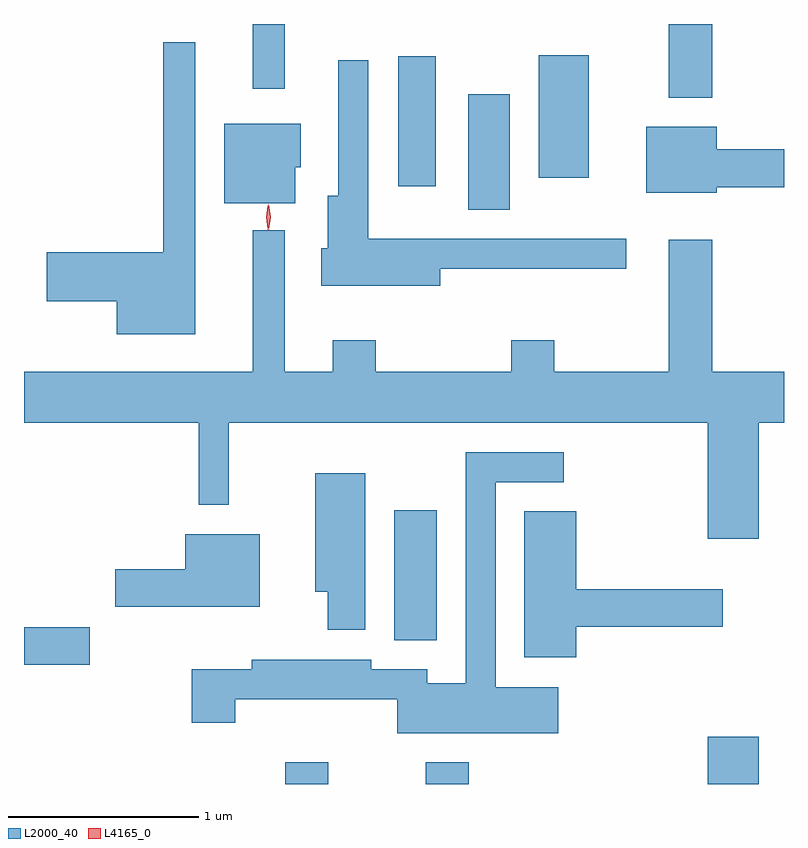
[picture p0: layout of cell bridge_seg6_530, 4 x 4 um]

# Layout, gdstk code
import gdstk
lib = gdstk.Library(unit=1e-6, precision=1e-09)
def R(c, l, rs):  # rectangles x0, y0, x1, y1
    for r in rs: c.add(gdstk.rectangle(r[:2], r[2:], *l))
def P(c, l, *ps):  # polygons
    for p in ps: c.add(gdstk.Polygon(p, *l))
L2000_40 = (2000, 40)
L4165_0 = (4165, 0)

bridge_seg6_530 = lib.new_cell('bridge_seg6_530')
R(bridge_seg6_530, L2000_40, [(492.571,1650.254,492.799,1650.369), (493.311,1650.254,493.539,1650.369), (494.796,1650.254,495.064,1650.504), (491.197,1650.881,491.544,1651.079), (493.146,1651.011,493.369,1651.694), (493.536,1653.276,493.754,1653.884), (493.166,1653.401,493.364,1654.084), (493.906,1653.446,494.169,1654.089), (494.591,1653.866,494.819,1654.254), (492.401,1653.913,492.569,1654.254)])
P(bridge_seg6_530, L2000_40, [(492.099,1654.158),(491.931,1654.158),(491.931,1653.054),(491.316,1653.054),(491.316,1652.796),(491.686,1652.796),(491.686,1652.621),(492.099,1652.621)],
  [(493.389,1652.966),(494.368,1652.966),(494.368,1653.124),(493.009,1653.124),(493.009,1654.063),(492.851,1654.063),(492.851,1653.349),(492.796,1653.349),(492.796,1653.074),(492.761,1653.074),(492.761,1652.876),(493.389,1652.876)],
  [(492.624,1653.501),(492.654,1653.501),(492.654,1653.729),(492.251,1653.729),(492.251,1653.311),(492.624,1653.311)],
  [(494.844,1653.396),(495.197,1653.396),(495.197,1653.594),(494.844,1653.594),(494.844,1653.714),(494.471,1653.714),(494.471,1653.366),(494.844,1653.366)],
  [(495.064,1652.156),(495.197,1652.156),(495.197,1652.424),(494.819,1652.424),(494.819,1653.119),(494.591,1653.119),(494.591,1652.424),(493.989,1652.424),(493.989,1652.589),(493.761,1652.589),(493.761,1652.424),(493.049,1652.424),(493.049,1652.589),(492.821,1652.589),(492.821,1652.424),(492.569,1652.424),(492.569,1653.168),(492.401,1653.168),(492.401,1652.424),(491.197,1652.424),(491.197,1652.156),(492.116,1652.156),(492.116,1651.723),(492.274,1651.723),(492.274,1652.156),(494.796,1652.156),(494.796,1651.546),(495.064,1651.546)],
  [(494.009,1650.764),(493.679,1650.764),(493.679,1651.841),(494.038,1651.841),(494.038,1651.999),(493.521,1651.999),(493.521,1650.784),(493.319,1650.784),(493.319,1650.859),(493.024,1650.859),(493.024,1650.909),(492.396,1650.909),(492.396,1650.859),(492.081,1650.859),(492.081,1650.576),(492.309,1650.576),(492.309,1650.701),(493.161,1650.701),(493.161,1650.521),(494.009,1650.521)],
  [(492.994,1651.889),(492.731,1651.889),(492.731,1651.266),(492.796,1651.266),(492.796,1651.066),(492.994,1651.066)],
  [(494.104,1651.081),(494.874,1651.081),(494.874,1651.279),(494.104,1651.279),(494.104,1651.689),(493.831,1651.689),(493.831,1650.921),(494.104,1650.921)],
  [(492.439,1651.569),(492.046,1651.569),(492.046,1651.384),(491.676,1651.384),(491.676,1651.186),(492.439,1651.186)])
P(bridge_seg6_530, L4165_0, [(492.481,1653.172),(492.48,1653.173),(492.471,1653.237),(492.48,1653.301),(492.481,1653.301),(492.481,1653.301),(492.491,1653.237),(492.481,1653.173)],
  [(492.485,1653.169),(492.484,1653.17),(492.475,1653.238),(492.485,1653.306),(492.486,1653.306),(492.486,1653.306),(492.495,1653.238),(492.485,1653.17)])

lib.write_gds('bridge_seg6_530.gds')
